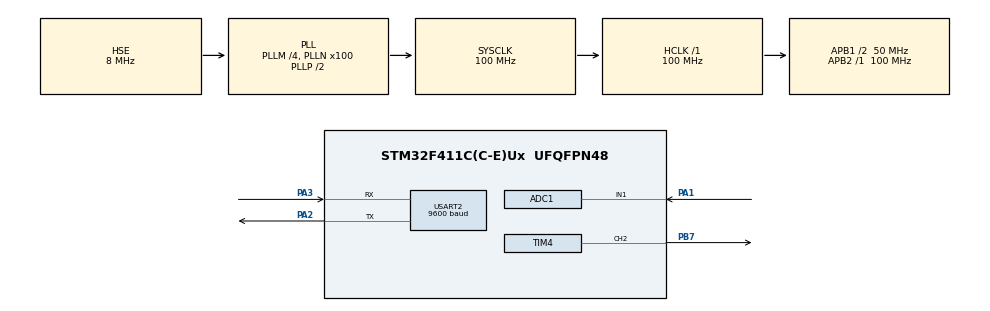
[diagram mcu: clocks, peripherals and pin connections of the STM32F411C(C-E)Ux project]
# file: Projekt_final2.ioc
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ADC1.Channel-0\#ChannelRegularConversion=ADC_CHANNEL_1
ADC1.ClockPrescaler=ADC_CLOCK_SYNC_PCLK_DIV4
ADC1.ContinuousConvMode=ENABLE
ADC1.DMAContinuousRequests=DISABLE
ADC1.DataAlign=ADC_DATAALIGN_RIGHT
ADC1.DiscontinuousConvMode=DISABLE
ADC1.EOCSelection=ADC_EOC_SINGLE_CONV
ADC1.EnableAnalogWatchDog=false
ADC1.ExternalTrigConv=ADC_SOFTWARE_START
ADC1.ExternalTrigConvEdge=ADC_EXTERNALTRIGCONVEDGE_NONE
ADC1.InjNumberOfConversion=0
ADC1.NbrOfConversion=1
ADC1.NbrOfConversionFlag=1
ADC1.Rank-0\#ChannelRegularConversion=1
ADC1.Resolution=ADC_RESOLUTION_12B
ADC1.SamplingTime-0\#ChannelRegularConversion=ADC_SAMPLETIME_480CYCLES
ADC1.ScanConvMode=DISABLE
ADC1.master=1
Mcu.Family=STM32F4
Mcu.Name=STM32F411C(C-E)Ux
Mcu.Package=UFQFPN48
NVIC.ADC_IRQn=true\:0\:0\:false\:false\:true\:true
NVIC.PriorityGroup=NVIC_PRIORITYGROUP_4
NVIC.USART2_IRQn=true\:0\:0\:false\:false\:true\:true
PA1.Signal=ADCx_IN1
PA2.Mode=Asynchronous
PA2.Signal=USART2_TX
PA3.Mode=Asynchronous
PA3.Signal=USART2_RX
PB7.Signal=S_TIM4_CH2
PH0\ -\ OSC_IN.Mode=HSE-External-Oscillator
PH0\ -\ OSC_IN.Signal=RCC_OSC_IN
PH1\ -\ OSC_OUT.Mode=HSE-External-Oscillator
PH1\ -\ OSC_OUT.Signal=RCC_OSC_OUT
ProjectManager.HeapSize=0x200
ProjectManager.StackSize=0x400
ProjectManager.TargetToolchain=SW4STM32
RCC.48MHZClocksFreq_Value=50000000
RCC.AHBFreq_Value=100000000
RCC.APB1CLKDivider=RCC_HCLK_DIV2
RCC.APB1Freq_Value=50000000
RCC.APB1TimFreq_Value=100000000
RCC.APB2Freq_Value=100000000
RCC.APB2TimFreq_Value=100000000
RCC.CortexFreq_Value=100000000
RCC.HCLKFreq_Value=100000000
RCC.HSE_VALUE=8000000
RCC.HSI_VALUE=16000000
RCC.LSE_VALUE=32768
RCC.PLLM=4
RCC.PLLN=100
RCC.PLLSourceVirtual=RCC_PLLSOURCE_HSE
RCC.SYSCLKFreq_VALUE=100000000
RCC.SYSCLKSource=RCC_SYSCLKSOURCE_PLLCLK
RCC.VCOOutputFreq_Value=200000000
SH.ADCx_IN1.0=ADC1_IN1,IN1
SH.S_TIM4_CH2.0=TIM4_CH2,PWM Generation2 CH2
TIM4.Channel-PWM\ Generation2\ CH2=TIM_CHANNEL_2
TIM4.Period=999
TIM4.Prescaler=999
USART2.BaudRate=9600
USART2.VirtualMode=VM_ASYNC
VP_TIM4_VS_ClockSourceINT.Mode=Internal
board=Projekt_final2

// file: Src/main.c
/**
 ******************************************************************************
 * File Name          : main.c
 * Description        : Main program body
 ******************************************************************************
 ** This notice applies to any and all portions of this file
 * that are not between comment pairs USER CODE BEGIN and
 * USER CODE END. Other portions of this file, whether
 * inserted by the user or by software development tools
 * are owned by their respective copyright owners.
 *
 * COPYRIGHT(c) 2018 STMicroelectronics
 *
 * Redistribution and use in source and binary forms, with or without modification,
 * are permitted provided that the following conditions are met:
 *   1. Redistributions of source code must retain the above copyright notice,
 *      this list of conditions and the following disclaimer.
 *   2. Redistributions in binary form must reproduce the above copyright notice,
 *      this list of conditions and the following disclaimer in the documentation
 *      and/or other materials provided with the distribution.
 *   3. Neither the name of STMicroelectronics nor the names of its contributors
 *      may be used to endorse or promote products derived from this software
 *      without specific prior written permission.
 *
 * THIS SOFTWARE IS PROVIDED BY THE COPYRIGHT HOLDERS AND CONTRIBUTORS "AS IS"
 * AND ANY EXPRESS OR IMPLIED WARRANTIES, INCLUDING, BUT NOT LIMITED TO, THE
 * IMPLIED WARRANTIES OF MERCHANTABILITY AND FITNESS FOR A PARTICULAR PURPOSE ARE
 * DISCLAIMED. IN NO EVENT SHALL THE COPYRIGHT HOLDER OR CONTRIBUTORS BE LIABLE
 * FOR ANY DIRECT, INDIRECT, INCIDENTAL, SPECIAL, EXEMPLARY, OR CONSEQUENTIAL
 * DAMAGES (INCLUDING, BUT NOT LIMITED TO, PROCUREMENT OF SUBSTITUTE GOODS OR
 * SERVICES; LOSS OF USE, DATA, OR PROFITS; OR BUSINESS INTERRUPTION) HOWEVER
 * CAUSED AND ON ANY THEORY OF LIABILITY, WHETHER IN CONTRACT, STRICT LIABILITY,
 * OR TORT (INCLUDING NEGLIGENCE OR OTHERWISE) ARISING IN ANY WAY OUT OF THE USE
 * OF THIS SOFTWARE, EVEN IF ADVISED OF THE POSSIBILITY OF SUCH DAMAGE.
 *
 ******************************************************************************
 */

#include "main.h"
#include "stm32f4xx_hal.h"

/* USER CODE BEGIN Includes */
#include <math.h>
#include <string.h>
#include <ctype.h>
/* USER CODE END Includes */

ADC_HandleTypeDef hadc1;

TIM_HandleTypeDef htim4;

UART_HandleTypeDef huart2;

/* USER CODE BEGIN PV */
/* Private variables ---------------------------------------------------------*/
//Timer
static __IO uint32_t TimingDelay;

//serwomechanizm
volatile uint16_t PomiarADC; //zmienna sluzaca do pomiaru wartosci ADC
uint16_t ADCval; //wartosc ADC potrzebna do sterowania serwem
int move; //Zmienna przechowuj1ca wartosc wypelnienia
uint16_t a = 0; //dolny zakres pracy joysticka (dolna wartosc ADC)
uint16_t b = 4095; //gorny zakres pracy joysticka (gorna wartosc ADC)

//bufor kolowy - odczyt
char str[256];		//tablica charow do transmisji w terminalu
char bufor[256];	//bufor kolowy
int bufor_e = 0;	//pierwszy wolny indeks
int bufor_f = 0;	//kolejny zajety indeks

//bufor kolowy - wysylanie
char bufor2[256]; //bufor kolowy
char pomoc[256];  //tablica charow do transmisji w terminalu
int bufor2_e = 0; //pierwszy wolny indeks
int bufor2_f = 0; //kolejny zajety indeks
int wysylanie; //flaga wysylania 0-brak transmisji 1-transmisja
/* USER CODE END PV */

void SystemClock_Config(void);
static void MX_GPIO_Init(void);
static void MX_ADC1_Init(void);
static void MX_TIM4_Init(void);
static void MX_USART2_UART_Init(void);

void HAL_TIM_MspPostInit(TIM_HandleTypeDef *htim);

/* USER CODE BEGIN PFP */
/* Private function prototypes -----------------------------------------------*/
char UART_KB_HIT(); //dopisanie znaku
char UART_GET_CHAR(); //pobranie znaku
char UART_GET_LINE(char chr, char* str); //pobranie linii
void UART_SendData(unsigned char *data, uint16_t len); //wysy3anie

//UART - zabezpiecznia
char * findCommand(char * src, const char * findingCommand); //wyszukiwanie komend
int countCommands(char * src, const char * findingCommand);  //zliczanie komend

//UART - liczniki polecen
int counterPing = 0; //licznik ping;
int counterPomiar = 0; //licznik pomiar;
int counterDefault = 0; //licznik default;
int counterAplus1 = 0; //licznik aplus1;
int counterAplus10 = 0; //licznik aplus10;
int counterAplus100 = 0; //licznik aplus100;
int counterAminus1 = 0; //licznik aminus1;
int counterAminus10 = 0; //licznik aminus10;
int counterAminus100 = 0; //licznik aminus100;
int counterBplus1 = 0; //licznik bplus1;
int counterBplus10 = 0; //licznik bplus10;
int counterBplus100 = 0; //licznik bplus100;
int counterBminus1 = 0; //licznik bminus1;
int counterBminus10 = 0; //licznik bminus10;
int counterBminus100 = 0; //licznik bminus100;

//przerwania
void HAL_UART_RxCpltCallback(UART_HandleTypeDef *huart); //odbior
void HAL_UART_TxCpltCallback(UART_HandleTypeDef *huart); //transmisja
void HAL_ADC_ConvCpltCallback(ADC_HandleTypeDef *hadc); //pomiar ADC

//protocol commands
void commandPing();		    //ping
void commandPomiar();	    //Pomiar napiecia
void commandDefault();      //Kalibracja joysticka w zakresie 0-3.3V
void commandAplus1();       //zakres dolny +1
void commandAplus10();      //zakres dolny +10
void commandAplus100();     //zakres dolny +100
void commandAminus1();      //zakres dolny -1
void commandAminus10();     //zakres dolny -10
void commandAminus100();    //zakres dolny -100
void commandBplus1();       //zakres gorny +1
void commandBplus10();      //zakres gorny +10
void commandBplus100();     //zakres gorny +100
void commandBminus1();      //zakres gorny -1
void commandBminus10();     //zakres gorny -10
void commandBminus100();    //zakres gorny -100
/* USER CODE END PFP */

int main(void) {

	/* USER CODE BEGIN 1 */
	char getchr; //pobrany znak
	//Systick
	if (SysTick_Config(SystemCoreClock / 1000))
		while (1)
			;
	/* USER CODE END 1 */

	/* MCU Configuration----------------------------------------------------------*/

	/* Reset of all peripherals, Initializes the Flash interface and the Systick. */
	HAL_Init();

	/* Configure the system clock */
	SystemClock_Config();

	/* Initialize all configured peripherals */
	MX_GPIO_Init();
	MX_ADC1_Init();
	MX_TIM4_Init();
	MX_USART2_UART_Init();

	/* USER CODE BEGIN 2 */
	HAL_TIM_PWM_Start(&htim4, TIM_CHANNEL_2); //generowanie wartosci wypelnienia PWM, potrzebnego do sterowania serwem.
	HAL_ADC_Start(&hadc1); //pomiar adc po stronie joysticka
	HAL_UART_Receive_IT(&huart2, &bufor[bufor_e], 1); //przygotowanie do odbioru znaku
	/* USER CODE END 2 */

	/* Infinite loop */
	while (1) {

		/* USER CODE BEGIN 3 */
		//Serwo
		ADCval = HAL_ADC_GetValue(&hadc1); //odczytanie wartosci adc
		if (ADCval >= a && ADCval <= b) {
			move = round(60 + ADCval * (190.0 / 4095.0)); //wyliczenie stukrotnosci czasu reakcji w ms. (W lewo 0V, w prawo 3,3V)
			TIM4->CCR2 = move; //Zapisanie wartooci napiecia serwa do rejestru CCR2
			HAL_ADC_Start(&hadc1); // rozpoczecie pomiaru
			Delay(1);
		}
		//UART
		if (UART_KB_HIT() == 1) { //przy wykryciu wprowadzenia znaku wchodzi do petli
			getchr = UART_GET_CHAR(); //pobiera wpisany znak do zmiennej getchr
			int len = UART_GET_LINE(getchr, str); //zapis d3ugosci polecenia z pobranej linii
			if (len > 0) { //jesli jest cokolwiek do odczytania to wejdzie to petli
				//tutaj wejdzie dopiero jak wcisniemy enter
				//komenda pobierana funkcj1 UART_GET_LINE() i sprawdzana pod wzgledem d3ugosci, nazwy komendy oraz srednika na koncu polecenia
				for (int i = 0; str[i]; i++) {
					str[i] = tolower(str[i]);
				}
				if ((countCommands(str, "ping;") > 0)
						|| (countCommands(str, "pomiar;") > 0)
						|| (countCommands(str, "default;") > 0)
						|| (countCommands(str, "aplus1;") > 0)
						|| (countCommands(str, "aplus10;") > 0)
						|| (countCommands(str, "aplus100;") > 0)
						|| (countCommands(str, "aminus1;") > 0)
						|| (countCommands(str, "aminus10;") > 0)
						|| (countCommands(str, "aminus100;") > 0)
						|| (countCommands(str, "bplus1;") > 0)
						|| (countCommands(str, "bplus10;") > 0)
						|| (countCommands(str, "bplus100;") > 0)
						|| (countCommands(str, "bminus1;") > 0)
						|| (countCommands(str, "bminus10;") > 0)
						|| (countCommands(str, "bminus100;") > 0)) {
					counterPing = countCommands(str, "ping;");
					counterPomiar = countCommands(str, "pomiar;");
					counterDefault = countCommands(str, "default;");
					counterAplus1 = countCommands(str, "aplus1;");
					counterAplus10 = countCommands(str, "aplus10;");
					counterAplus100 = countCommands(str, "aplus100;");
					counterAminus1 = countCommands(str, "aminus1;");
					counterAminus10 = countCommands(str, "aminus10;");
					counterAminus100 = countCommands(str, "aminus100;");
					counterBplus1 = countCommands(str, "bplus1;");
					counterBplus10 = countCommands(str, "bplus10;");
					counterBplus100 = countCommands(str, "bplus100;");
					counterBminus1 = countCommands(str, "bminus1;");
					counterBminus10 = countCommands(str, "bminus10;");
					counterBminus100 = countCommands(str, "bminus100;");
					if (counterPing != 0) {
						for (int i = 0; i < counterPing; i++) {
							commandPing();
						}				//for ping;
						counterPing = 0;
					}				//counterPing
					if (counterPomiar != 0) {
						for (int i = 0; i < counterPomiar; i++) {
							commandPomiar();
						}				//for pomiar;
						counterPomiar = 0;
					}				//counterPomiar
					if (counterDefault != 0) {
						for (int i = 0; i < counterDefault; i++) {
							commandDefault();
						}				//for default;
						counterDefault = 0;
					}				//counterDefault
					if (counterAplus1 != 0) {
						for (int i = 0; i < counterAplus1; i++) {
							commandAplus1();
						}				//for Aplus1;
						counterAplus1 = 0;
					}				//counterAplus1
					if (counterAplus10 != 0) {
						for (int i = 0; i < counterAplus10; i++) {
							commandAplus10();
						}				//for Aplus10;
						counterAplus10 = 0;
					}				//counterAplus10
					if (counterAplus100 != 0) {
						for (int i = 0; i < counterAplus100; i++) {
							commandAplus100();
						}				//for Aplus100;
						counterAplus100 = 0;
					}				//counterAplus100
					if (counterAminus1 != 0) {
						for (int i = 0; i < counterAminus1; i++) {
							commandAminus1();
						}				//for Aminus1;
						counterAminus1 = 0;
					}				//counterAminus1
					if (counterAminus10 != 0) {
						for (int i = 0; i < counterAminus10; i++) {
							commandAminus10();
						}				//for Aminus10;
						counterAminus10 = 0;
					}				//counterAminus10
					if (counterAminus100 != 0) {
						for (int i = 0; i < counterAminus100; i++) {
							commandAminus100();
						}				//for Aminus100;
						counterAminus100 = 0;
					}				//counterAminus100
					if (counterBplus1 != 0) {
						for (int i = 0; i < counterBplus1; i++) {
							commandBplus1();
						}				//for Bplus1;
						counterBplus1 = 0;
					}				//counterBplus1
					if (counterBplus10 != 0) {
						for (int i = 0; i < counterBplus10; i++) {
							commandBplus10();
						}				//for Bplus10;
						counterBplus10 = 0;
					}				//counterBplus10
					if (counterBplus100 != 0) {
						for (int i = 0; i < counterBplus100; i++) {
							commandBplus100();
						}				//for Bplus100;
						counterBplus100 = 0;
					}				//counterBplus100
					if (counterBminus1 != 0) {
						for (int i = 0; i < counterBminus1; i++) {
							commandBminus1();
						}				//for Bminus1;
						counterBminus1 = 0;
					}				//counterBminus1
					if (counterBminus10 != 0) {
						for (int i = 0; i < counterBminus10; i++) {
							commandBminus10();
						}				//for Bminus10;
						counterBminus10 = 0;
					}				//counterBminus10
					if (counterBminus100 != 0) {
						for (int i = 0; i < counterBminus100; i++) {
							commandBminus100();
						}				//for Bminus100;
						counterBminus100 = 0;
					}				//counterBminus100
				}				//zliczanie komend
				else {
					errorMessage();
				}				//error
			} //if (len>0)
		} // dopisanie znaku
	} //while
} //main
/* USER CODE END 3 */

/** System Clock Configuration
 */
void SystemClock_Config(void) {

	RCC_OscInitTypeDef RCC_OscInitStruct;
	RCC_ClkInitTypeDef RCC_ClkInitStruct;

	/**Configure the main internal regulator output voltage
	 */
	__HAL_RCC_PWR_CLK_ENABLE()
	;

	__HAL_PWR_VOLTAGESCALING_CONFIG(PWR_REGULATOR_VOLTAGE_SCALE1);

	/**Initializes the CPU, AHB and APB busses clocks
	 */
	RCC_OscInitStruct.OscillatorType = RCC_OSCILLATORTYPE_HSE;
	RCC_OscInitStruct.HSEState = RCC_HSE_ON;
	RCC_OscInitStruct.PLL.PLLState = RCC_PLL_ON;
	RCC_OscInitStruct.PLL.PLLSource = RCC_PLLSOURCE_HSE;
	RCC_OscInitStruct.PLL.PLLM = 4;
	RCC_OscInitStruct.PLL.PLLN = 100;
	RCC_OscInitStruct.PLL.PLLP = RCC_PLLP_DIV2;
	RCC_OscInitStruct.PLL.PLLQ = 4;
	if (HAL_RCC_OscConfig(&RCC_OscInitStruct) != HAL_OK) {
		_Error_Handler(__FILE__, __LINE__);
	}

	/**Initializes the CPU, AHB and APB busses clocks
	 */
	RCC_ClkInitStruct.ClockType = RCC_CLOCKTYPE_HCLK | RCC_CLOCKTYPE_SYSCLK
			| RCC_CLOCKTYPE_PCLK1 | RCC_CLOCKTYPE_PCLK2;
	RCC_ClkInitStruct.SYSCLKSource = RCC_SYSCLKSOURCE_PLLCLK;
	RCC_ClkInitStruct.AHBCLKDivider = RCC_SYSCLK_DIV1;
	RCC_ClkInitStruct.APB1CLKDivider = RCC_HCLK_DIV2;
	RCC_ClkInitStruct.APB2CLKDivider = RCC_HCLK_DIV1;

	if (HAL_RCC_ClockConfig(&RCC_ClkInitStruct, FLASH_LATENCY_3) != HAL_OK) {
		_Error_Handler(__FILE__, __LINE__);
	}

	/**Configure the Systick interrupt time
	 */
	HAL_SYSTICK_Config(HAL_RCC_GetHCLKFreq() / 1000);

	/**Configure the Systick
	 */
	HAL_SYSTICK_CLKSourceConfig(SYSTICK_CLKSOURCE_HCLK);

	/* SysTick_IRQn interrupt configuration */
	HAL_NVIC_SetPriority(SysTick_IRQn, 0, 0);
}

/* ADC1 init function */
static void MX_ADC1_Init(void) {

	ADC_ChannelConfTypeDef sConfig;

	/**Configure the global features of the ADC (Clock, Resolution, Data Alignment and number of conversion)
	 */
	hadc1.Instance = ADC1;
	hadc1.Init.ClockPrescaler = ADC_CLOCK_SYNC_PCLK_DIV4;
	hadc1.Init.Resolution = ADC_RESOLUTION_12B;
	hadc1.Init.ScanConvMode = DISABLE;
	hadc1.Init.ContinuousConvMode = ENABLE;
	hadc1.Init.DiscontinuousConvMode = DISABLE;
	hadc1.Init.ExternalTrigConvEdge = ADC_EXTERNALTRIGCONVEDGE_NONE;
	hadc1.Init.ExternalTrigConv = ADC_SOFTWARE_START;
	hadc1.Init.DataAlign = ADC_DATAALIGN_RIGHT;
	hadc1.Init.NbrOfConversion = 1;
	hadc1.Init.DMAContinuousRequests = DISABLE;
	hadc1.Init.EOCSelection = ADC_EOC_SINGLE_CONV;
	if (HAL_ADC_Init(&hadc1) != HAL_OK) {
		_Error_Handler(__FILE__, __LINE__);
	}

	/**Configure for the selected ADC regular channel its corresponding rank in the sequencer and its sample time.
	 */
	sConfig.Channel = ADC_CHANNEL_1;
	sConfig.Rank = 1;
	sConfig.SamplingTime = ADC_SAMPLETIME_480CYCLES;
	if (HAL_ADC_ConfigChannel(&hadc1, &sConfig) != HAL_OK) {
		_Error_Handler(__FILE__, __LINE__);
	}

}

/* TIM4 init function */
static void MX_TIM4_Init(void) {

	TIM_ClockConfigTypeDef sClockSourceConfig;
	TIM_MasterConfigTypeDef sMasterConfig;
	TIM_OC_InitTypeDef sConfigOC;

	htim4.Instance = TIM4;
	htim4.Init.Prescaler = 999;
	htim4.Init.CounterMode = TIM_COUNTERMODE_UP;
	htim4.Init.Period = 999;
	htim4.Init.ClockDivision = TIM_CLOCKDIVISION_DIV1;
	if (HAL_TIM_Base_Init(&htim4) != HAL_OK) {
		_Error_Handler(__FILE__, __LINE__);
	}

	sClockSourceConfig.ClockSource = TIM_CLOCKSOURCE_INTERNAL;
	if (HAL_TIM_ConfigClockSource(&htim4, &sClockSourceConfig) != HAL_OK) {
		_Error_Handler(__FILE__, __LINE__);
	}

	if (HAL_TIM_PWM_Init(&htim4) != HAL_OK) {
		_Error_Handler(__FILE__, __LINE__);
	}

	sMasterConfig.MasterOutputTrigger = TIM_TRGO_RESET;
	sMasterConfig.MasterSlaveMode = TIM_MASTERSLAVEMODE_DISABLE;
	if (HAL_TIMEx_MasterConfigSynchronization(&htim4, &sMasterConfig)
			!= HAL_OK) {
		_Error_Handler(__FILE__, __LINE__);
	}

	sConfigOC.OCMode = TIM_OCMODE_PWM1;
	sConfigOC.Pulse = 0;
	sConfigOC.OCPolarity = TIM_OCPOLARITY_HIGH;
	sConfigOC.OCFastMode = TIM_OCFAST_DISABLE;
	if (HAL_TIM_PWM_ConfigChannel(&htim4, &sConfigOC, TIM_CHANNEL_2)
			!= HAL_OK) {
		_Error_Handler(__FILE__, __LINE__);
	}

	HAL_TIM_MspPostInit(&htim4);

}

/* USART2 init function */
static void MX_USART2_UART_Init(void) {

	huart2.Instance = USART2;
	huart2.Init.BaudRate = 9600;
	huart2.Init.WordLength = UART_WORDLENGTH_8B;
	huart2.Init.StopBits = UART_STOPBITS_1;
	huart2.Init.Parity = UART_PARITY_NONE;
	huart2.Init.Mode = UART_MODE_TX_RX;
	huart2.Init.HwFlowCtl = UART_HWCONTROL_NONE;
	huart2.Init.OverSampling = UART_OVERSAMPLING_16;
	if (HAL_UART_Init(&huart2) != HAL_OK) {
		_Error_Handler(__FILE__, __LINE__);
	}

}

/** Configure pins as
 * Analog
 * Input
 * Output
 * EVENT_OUT
 * EXTI
 */
static void MX_GPIO_Init(void) {

	/* GPIO Ports Clock Enable */
	__HAL_RCC_GPIOH_CLK_ENABLE()
	;
	__HAL_RCC_GPIOA_CLK_ENABLE()
	;
	__HAL_RCC_GPIOB_CLK_ENABLE()
	;

}

/* USER CODE BEGIN 4 */
//Komendy glowne
void commandPing() { //test polaczenia
	unsigned char data[256];
	uint16_t size =
			sprintf(data,
					"Jesli widzisz ten komunikat, to znaczy, ze poprawnie polaczyles sie z terminalem.\r\n");
	UART_SendData(data, size);
}

void commandPomiar() { //pomiar napiecia
	unsigned char data[256];
	PomiarADC = HAL_ADC_GetValue(&hadc1);
	HAL_ADC_Start(&hadc1);
	uint16_t size = sprintf(data, "ADC = %d (%.3fV)\r\n", PomiarADC,
			PomiarADC * 3.3f / 4096.0f);
	UART_SendData(data, size);
}

void commandDefault() { //ustawienie domyslenego zakresu pracy
	unsigned char data[256];
	uint16_t size = sprintf(data, "Tryb pracy w zakresie 0-3.3V\r\n");
	UART_SendData(data, size);
	a = 0;
	b = 4095;
}

void errorMessage() { //wydruk bledu
	unsigned char data[256];
	uint16_t size =
			sprintf(data,
					"Blad! Dozwolone komendy: 'ping;', 'pomiar;', 'default;', 'aplus1;', 'aplus10;', 'aplus100;', 'aminus1;', 'aminus10;', 'aminus100;', 'bplus1;', 'bplus10;', 'bplus100;', 'bminus1;', 'bminus10;', 'bminus100;'\r\n");
	UART_SendData(data, size);
}

//Przerwania
void HAL_UART_RxCpltCallback(UART_HandleTypeDef *huart) { //przerwanie UART - odbior
	if (huart->Instance == USART2) {
		bufor_e++;
		if (bufor_e >= 256) {
			bufor_e = 0;
		}
		HAL_UART_Receive_IT(&huart2, &bufor[bufor_e], 1);
	}
}

void HAL_UART_TxCpltCallback(UART_HandleTypeDef *huart) { //przerwanie UART - wysylanie
	if (huart->Instance == USART2) {
		if (bufor2_e != bufor2_f) {
			int i = 0;
			while (bufor2_e != bufor2_f) {
				pomoc[i] = bufor2[bufor2_f];
				bufor2_f++;
				i++;
			}
			HAL_UART_Transmit_IT(&huart2, pomoc, i);
			if (bufor2_f >= 256) {
				bufor2_f = 0;
			}
		} else {
			wysylanie = 0;
		}
	}
}

void HAL_ADC_ConvCpltCallback(ADC_HandleTypeDef *hadc) {
	PomiarADC = HAL_ADC_GetValue(&hadc1);
}

//UART
char UART_KB_HIT() {	//wykrywanie dopisanina znaku do bufora
	if (bufor_e == bufor_f) {
		return 0;
	} else {
		return 1;
	}
}

char UART_GET_CHAR() { //odczytywanie znaku z bufora
	char x;
	x = bufor[bufor_f];
	bufor_f++;
	if (bufor_f >= 256) {
		bufor_f = 0;
	}
	return x;
}

char UART_GET_LINE(char chr, char* str) { //pobieranie linii z terminala
	static char mem[256]; //bufor odczytu
	static int i = 0;
	int j;
	if (chr == 10 || chr == 13) { //10 lub 13 oznacza znak konca linii (byc moze oba)
		memcpy(str, mem, i); //kopiowanie zawartosci mem do str (ilosc charow definiuje zmienna i)
		str[i] = 0;
		j = i;
		i = 0;
		return j;
	} else {
		mem[i] = chr; //zapis znaku do bufora odczytu
		i++;
		if (i >= 256) {
			i = 0;
		}
		return 0;
	}
}

void UART_SendData(unsigned char *data, uint16_t len) {
	for (int i = 0; i < len; i++) {
		bufor2[bufor2_e] = data[i];
		bufor2_e++;
		if (bufor2_e >= 256) {
			bufor2_e = 0;
		}
	}
	__disable_irq();
	if (wysylanie == 0) {
		wysylanie = 1;
		int i = 0;
		while (bufor2_f != bufor2_e) {
			pomoc[i] = bufor2[bufor2_f];
			bufor2_f++;
			if (bufor2_f >= 256) {
				bufor2_f = 0;
			}
			i++;
		}
		HAL_UART_Transmit_IT(&huart2, pomoc, i);
	}
	__enable_irq();
}

//zabezpieczenia

char * findCommand(char * src, const char * findingCommand) {
	const char * beginingOfsearchingCommand = findingCommand;
	char * currPositionOfSource = src;

	while (*src) {
		findingCommand = beginingOfsearchingCommand;
		src = currPositionOfSource;

		while (*src == *findingCommand) {
			if ((*src == '\0' && *findingCommand == '\0')
					|| (*src == ';' && *findingCommand == ';'))
				break;

			src++;
			findingCommand++;
		}

		if (*findingCommand == '\0' || *findingCommand == ';')
			if (*src == ' ' || *src == '\0' || *src == ';')
				return currPositionOfSource;

		currPositionOfSource++;
	}

	return NULL;
}

int countCommands(char * src, const char * findingCommand) {
	char * placeInString = findCommand(src, findingCommand);
	int mainCounter = 0;

	while (placeInString) {
		mainCounter++;
		placeInString = findCommand(placeInString + 1, findingCommand);
	}

	return mainCounter;
}

//Opoznienie
void Delay(__IO uint32_t nTime) {
	TimingDelay = nTime;

	while (TimingDelay != 0)
		;
}

void TimingDelay_Decrement(void) {
	if (TimingDelay != 0x00) {
		TimingDelay--;
	}
}

//Ustawienie czulosci
void commandAplus1() {
	if ((a + 1) < b) {
		a = a + 1;
		unsigned char data1[256];
		uint16_t size = sprintf(data1, "Zakres dolny ADC = %d (%.3fV)\r\n", a,
				a * 3.3f / 4096.0f);
		UART_SendData(data1, size);
		unsigned char data2[256];
		size = sprintf(data2, "Zakres gorny ADC = %d (%.3fV)\r\n", b,
				b * 3.3f / 4096.0f);
		UART_SendData(data2, size);
	} else {
		unsigned char data[256];
		uint16_t size = sprintf(data,
				"Zakres dolny nie mo?e przekraczac %d!\r\n", b - 1);
		UART_SendData(data, size);
	}
} //zakres dolny +1
void commandAplus10() {
	if ((a + 10) < b) {
		a = a + 10;
		unsigned char data1[256];
		uint16_t size = sprintf(data1, "Zakres dolny ADC = %d (%.3fV)\r\n", a,
				a * 3.3f / 4096.0f);
		UART_SendData(data1, size);
		unsigned char data2[256];
		size = sprintf(data2, "Zakres gorny ADC = %d (%.3fV)\r\n", b,
				b * 3.3f / 4096.0f);
		UART_SendData(data2, size);
	} else {
		unsigned char data[256];
		uint16_t size = sprintf(data,
				"Zakres dolny nie mo?e przekraczac %d!\r\n", b - 1);
		UART_SendData(data, size);
	}
}      //zakres dolny +10
void commandAplus100() {
	if ((a + 100) < b) {
		a = a + 100;
		unsigned char data1[256];
		uint16_t size = sprintf(data1, "Zakres dolny ADC = %d (%.3fV)\r\n", a,
				a * 3.3f / 4096.0f);
		UART_SendData(data1, size);
		unsigned char data2[256];
		size = sprintf(data2, "Zakres gorny ADC = %d (%.3fV)\r\n", b,
				b * 3.3f / 4096.0f);
		UART_SendData(data2, size);
	} else {
		unsigned char data[256];
		uint16_t size = sprintf(data,
				"Zakres dolny nie mo?e przekraczac %d!\r\n", b - 1);
		UART_SendData(data, size);
	}
}     //zakres dolny +100
void commandAminus1() {
	if ((a - 1) >= 0) {
		a = a - 1;
		unsigned char data1[256];
		uint16_t size = sprintf(data1, "Zakres dolny ADC = %d (%.3fV)\r\n", a,
				a * 3.3f / 4096.0f);
		UART_SendData(data1, size);
		unsigned char data2[256];
		size = sprintf(data2, "Zakres gorny ADC = %d (%.3fV)\r\n", b,
				b * 3.3f / 4096.0f);
		UART_SendData(data2, size);
	} else {
		unsigned char data[256];
		uint16_t size = sprintf(data,
				"Zakres dolny nie mo?e przekraczac 0!\r\n");
		UART_SendData(data, size);
	}
}      //zakres dolny -1
void commandAminus10() {
	if ((a - 10) >= 0) {
		a = a - 10;
		unsigned char data1[256];
		uint16_t size = sprintf(data1, "Zakres dolny ADC = %d (%.3fV)\r\n", a,
				a * 3.3f / 4096.0f);
		UART_SendData(data1, size);
		unsigned char data2[256];
		size = sprintf(data2, "Zakres gorny ADC = %d (%.3fV)\r\n", b,
				b * 3.3f / 4096.0f);
		UART_SendData(data2, size);
	} else {
		unsigned char data[256];
		uint16_t size = sprintf(data,
				"Zakres dolny nie mo?e przekraczac 0!\r\n");
		UART_SendData(data, size);
	}
}     //zakres dolny -10

void commandAminus100() {
	if ((a - 100) >= 0) {
		a = a - 100;
		unsigned char data1[256];
		uint16_t size = sprintf(data1, "Zakres dolny ADC = %d (%.3fV)\r\n", a,
				a * 3.3f / 4096.0f);
		UART_SendData(data1, size);
		unsigned char data2[256];
		size = sprintf(data2, "Zakres gorny ADC = %d (%.3fV)\r\n", b,
				b * 3.3f / 4096.0f);
		UART_SendData(data2, size);
	} else {
		unsigned char data[256];
		uint16_t size = sprintf(data,
				"Zakres dolny nie mo?e przekraczac 0!\r\n");
		UART_SendData(data, size);
	}
}    //zakres dolny -100
void commandBplus1() {
	if ((b + 1) < 4096) {
		b = b + 1;
		unsigned char data1[256];
		uint16_t size = sprintf(data1, "Zakres dolny ADC = %d (%.3fV)\r\n", a,
				a * 3.3f / 4096.0f);
		UART_SendData(data1, size);
		unsigned char data2[256];
		size = sprintf(data2, "Zakres gorny ADC = %d (%.3fV)\r\n", b,
				b * 3.3f / 4096.0f);
		UART_SendData(data2, size);
	} else {
		unsigned char data[256];
		uint16_t size = sprintf(data,
				"Zakres gorny nie mo?e przekraczac 4095!\r\n");
		UART_SendData(data, size);
	}
}       //zakres gorny +1
void commandBplus10() {
	if ((b + 10) < 4096) {
		b = b + 10;
		unsigned char data1[256];
		uint16_t size = sprintf(data1, "Zakres dolny ADC = %d (%.3fV)\r\n", a,
				a * 3.3f / 4096.0f);
		UART_SendData(data1, size);
		unsigned char data2[256];
		size = sprintf(data2, "Zakres gorny ADC = %d (%.3fV)\r\n", b,
				b * 3.3f / 4096.0f);
		UART_SendData(data2, size);
	} else {
		unsigned char data[256];
		uint16_t size = sprintf(data,
				"Zakres gorny nie mo?e przekraczac 4095!\r\n");
		UART_SendData(data, size);
	}
}      //zakres gorny +10
void commandBplus100() {
	if ((b + 100) < 4096) {
		b = b + 100;
		unsigned char data1[256];
		uint16_t size = sprintf(data1, "Zakres dolny ADC = %d (%.3fV)\r\n", a,
				a * 3.3f / 4096.0f);
		UART_SendData(data1, size);
		unsigned char data2[256];
		size = sprintf(data2, "Zakres gorny ADC = %d (%.3fV)\r\n", b,
				b * 3.3f / 4096.0f);
		UART_SendData(data2, size);
	} else {
		unsigned char data[256];
		uint16_t size = sprintf(data,
				"Zakres gorny nie mo?e przekraczac 4095!\r\n");
		UART_SendData(data, size);
	}
}     //zakres gorny +100
void commandBminus1() {
	if ((b - 1) > a) {
		b = b - 1;
		unsigned char data1[256];
		uint16_t size = sprintf(data1, "Zakres dolny ADC = %d (%.3fV)\r\n", a,
				a * 3.3f / 4096.0f);
		UART_SendData(data1, size);
		unsigned char data2[256];
		size = sprintf(data2, "Zakres gorny ADC = %d (%.3fV)\r\n", b,
				b * 3.3f / 4096.0f);
		UART_SendData(data2, size);
	} else {
		unsigned char data[256];
		uint16_t size = sprintf(data,
				"Zakres dolny nie mo?e przekraczac %d!\r\n", a + 1);
		UART_SendData(data, size);
	}
}      //zakres gorny -1
void commandBminus10() {
	if ((b - 10) > a) {
		b = b - 10;
		unsigned char data1[256];
		uint16_t size = sprintf(data1, "Zakres dolny ADC = %d (%.3fV)\r\n", a,
				a * 3.3f / 4096.0f);
		UART_SendData(data1, size);
		unsigned char data2[256];
		size = sprintf(data2, "Zakres gorny ADC = %d (%.3fV)\r\n", b,
				b * 3.3f / 4096.0f);
		UART_SendData(data2, size);
	} else {
		unsigned char data[256];
		uint16_t size = sprintf(data,
				"Zakres dolny nie mo?e przekraczac %d!\r\n", a + 1);
		UART_SendData(data, size);
	}
}     //zakres gorny -10
void commandBminus100() {
	if ((b - 100) > a) {
		b = b - 100;
		unsigned char data1[256];
		uint16_t size = sprintf(data1, "Zakres dolny ADC = %d (%.3fV)\r\n", a,
				a * 3.3f / 4096.0f);
		UART_SendData(data1, size);
		unsigned char data2[256];
		size = sprintf(data2, "Zakres gorny ADC = %d (%.3fV)\r\n", b,
				b * 3.3f / 4096.0f);
		UART_SendData(data2, size);
	} else {
		unsigned char data[256];
		uint16_t size = sprintf(data,
				"Zakres dolny nie mo?e przekraczac %d!\r\n", a + 1);
		UART_SendData(data, size);
	}
}    //zakres gorny -100
/* USER CODE END 4 */

void _Error_Handler(char * file, int line) {
	while (1) {
	}
}

/************************ (C) COPYRIGHT STMicroelectronics *****END OF FILE****/
